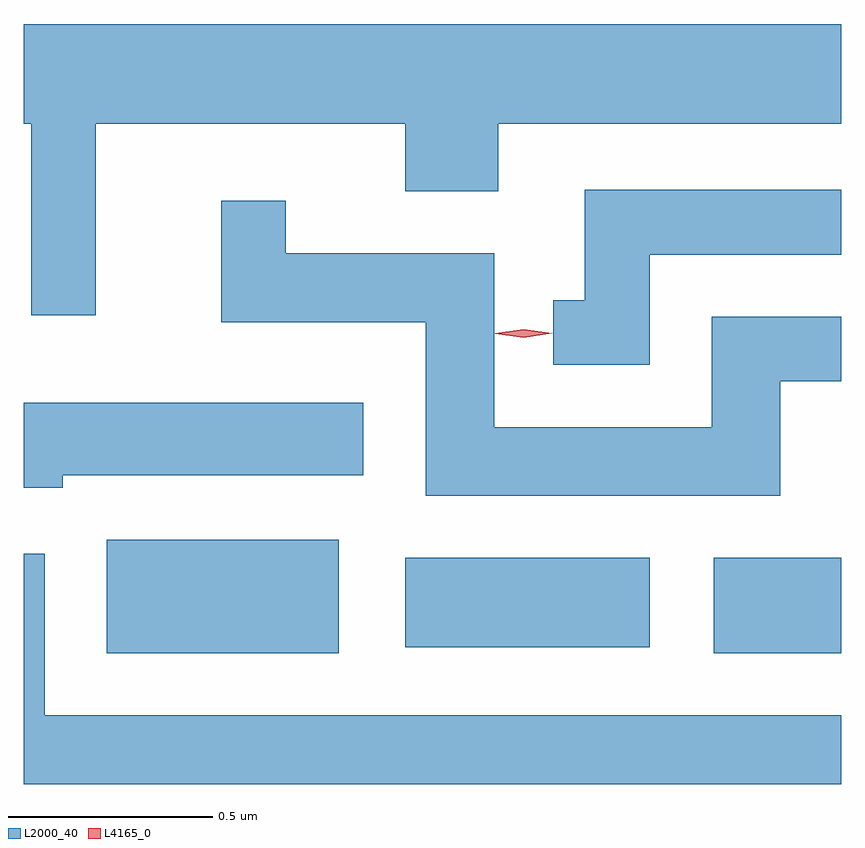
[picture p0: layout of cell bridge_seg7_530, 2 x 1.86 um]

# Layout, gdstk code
import gdstk
lib = gdstk.Library(unit=1e-6, precision=1e-09)
def R(c, l, rs):  # rectangles x0, y0, x1, y1
    for r in rs: c.add(gdstk.rectangle(r[:2], r[2:], *l))
def P(c, l, *ps):  # polygons
    for p in ps: c.add(gdstk.Polygon(p, *l))
L2000_40 = (2000, 40)
L4165_0 = (4165, 0)

bridge_seg7_530 = lib.new_cell('bridge_seg7_530')
R(bridge_seg7_530, L2000_40, [(1342.281,1695.261,1342.849,1695.539), (1343.766,1695.261,1344.078,1695.494), (1343.011,1695.276,1343.609,1695.494)])
P(bridge_seg7_530, L2000_40, [(1342.254,1696.556),(1343.011,1696.556),(1343.011,1696.391),(1343.239,1696.391),(1343.239,1696.556),(1344.078,1696.556),(1344.078,1696.8),(1342.078,1696.8),(1342.078,1696.556),(1342.096,1696.556),(1342.096,1696.088),(1342.254,1696.088)],
  [(1343.609,1696.236),(1344.078,1696.236),(1344.078,1696.394),(1343.451,1696.394),(1343.451,1696.124),(1343.373,1696.124),(1343.373,1695.966),(1343.609,1695.966)],
  [(1343.929,1695.926),(1344.078,1695.926),(1344.078,1696.084),(1343.761,1696.084),(1343.761,1695.814),(1343.229,1695.814),(1343.229,1696.239),(1342.719,1696.239),(1342.719,1696.368),(1342.561,1696.368),(1342.561,1696.071),(1343.061,1696.071),(1343.061,1695.646),(1343.929,1695.646)],
  [(1342.174,1695.696),(1342.909,1695.696),(1342.909,1695.874),(1342.078,1695.874),(1342.078,1695.666),(1342.174,1695.666)],
  [(1344.078,1695.109),(1342.129,1695.109),(1342.129,1695.504),(1342.078,1695.504),(1342.078,1694.941),(1344.078,1694.941)])
P(bridge_seg7_530, L4165_0, [(1343.301,1696.033),(1343.232,1696.042),(1343.232,1696.043),(1343.232,1696.043),(1343.301,1696.053),(1343.371,1696.044),(1343.371,1696.043),(1343.371,1696.043)])

lib.write_gds('bridge_seg7_530.gds')
